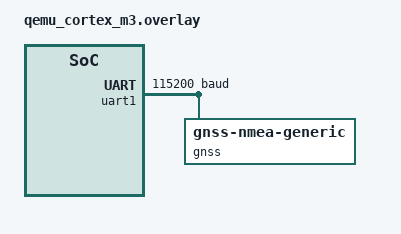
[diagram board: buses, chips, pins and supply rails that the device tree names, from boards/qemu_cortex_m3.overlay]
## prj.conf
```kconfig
# nothing here
CONFIG_UART_CONSOLE=y
CONFIG_RTT_CONSOLE=n
CONFIG_UART_CONSOLE=y
CONFIG_SERIAL=y

CONFIG_UART_INTERRUPT_DRIVEN=y
CONFIG_LOG=y
CONFIG_LOG_MODE_IMMEDIATE=y

CONFIG_GNSS=y
CONFIG_GNSS_SATELLITES=y
CONFIG_GNSS_DUMP_TO_LOG=y
CONFIG_GNSS_DUMP_TO_LOG_BUF_SIZE=1024
CONFIG_GNSS_LOG_LEVEL_DBG=y
CONFIG_PM_DEVICE=y
CONFIG_MODEM_MODULES_LOG_LEVEL_DBG=y
CONFIG_MODEM_LOG_LEVEL_DBG=y
CONFIG_MAIN_STACK_SIZE=10240
CONFIG_SYSTEM_WORKQUEUE_STACK_SIZE=4096

CONFIG_CBPRINTF_FP_SUPPORT=y
```

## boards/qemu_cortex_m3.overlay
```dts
/ {
    aliases {
        gnss = &gnss;
    };
};

&uart1 {
    status = "okay";
    current-speed = <115200>;

    gnss: gnss-nmea-generic {
        status = "okay";
        compatible = "gnss-nmea-generic";
        // uart-baudrate = <115200>;
        // zephyr,deferred-init;
    };
};
```

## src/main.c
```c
#include <zephyr/kernel.h>
#include <zephyr/drivers/uart.h>
#include <string.h>
#include <zephyr/drivers/gnss.h>
#include <zephyr/pm/device.h>
#include <string.h>
#include <inttypes.h>
#include <stdio.h>
#include <zephyr/kernel.h>
#include <zephyr/device.h>
#include <zephyr/logging/log.h>

LOG_MODULE_REGISTER(main);


#define UART_DEVICE_NODE DT_NODELABEL(uart2)
const struct device *uart1_dev = DEVICE_DT_GET(UART_DEVICE_NODE);

#define CMD_BUFFER_LEN 64

#define GNSS_MODEM DEVICE_DT_GET(DT_ALIAS(gnss))

unsigned long clockUnix = 0;
int gnss_dump_nav_data2(char *str, uint16_t strsize,
                        const struct navigation_data *nav_data, uint8_t no_sat,
                        uint32_t accuracy) {
  int ret;
  const char *fmt = "{\"T\":%d,\"lat\": %s%lli.%09lli, \"lng\": %s%lli.%09lli, "
                    "\"bearing\": %u.%03u, \"kmph\": %u.%03u, \"alt\": "
                    "%s%i.%03i, "
                    "\"no_sat\":%u, \"hdop\":%u.%03u}";
  char *lat_sign = nav_data->latitude < 0 ? "-" : "";
  char *lon_sign = nav_data->longitude < 0 ? "-" : "";
  char *alt_sign = nav_data->altitude < 0 ? "-" : "";

  LOG_INF("Speed in mms = %d\r\n", nav_data->speed);
  double speed_kmph = nav_data->speed * 0.0036;
  LOG_INF("Speed in kmph = %f\r\n", speed_kmph);

  // Separate integer and fractional parts
  uint32_t int_part = (uint32_t)speed_kmph;
  uint32_t frac_part = (uint32_t)((speed_kmph - int_part) * 100); //

  ret = snprintk(str, strsize, fmt, clockUnix, lat_sign,
                 llabs(nav_data->latitude) / 1000000000,
                 llabs(nav_data->latitude) % 1000000000, lon_sign,
                 llabs(nav_data->longitude) / 1000000000,
                 llabs(nav_data->longitude) % 1000000000,
                 nav_data->bearing / 1000, nav_data->bearing % 1000, int_part,
                 frac_part, alt_sign, abs(nav_data->altitude) / 1000,
                 abs(nav_data->altitude) % 1000, no_sat, accuracy / 1000,
                 accuracy % 1000);

  return (strsize < ret) ? -ENOMEM : 0;
}


static void gnss_data_cb(const struct device *dev,
                         const struct gnss_data *data) {
	static uint8_t fixCounter = 0; // Counter for the number of fixes

	uint8_t sat_cnt = data->info.satellites_cnt;
	uint32_t hdop_acc = data->info.hdop;
	printk(
		"\r\n ********************** Got a fix! %d ***********************\r\n",
		fixCounter);
	char buf[300];
	gnss_dump_nav_data2(buf, sizeof(buf), &data->nav_data, sat_cnt, hdop_acc);
		// const char *reply = "ERR\r\n";
		for (int i = 0; buf[i]; i++) {
			uart_poll_out(uart1_dev, buf[i]);
		}
	
}
GNSS_DATA_CALLBACK_DEFINE(GNSS_MODEM, gnss_data_cb);

void main(void)
{
    if (!device_is_ready(uart1_dev)) {
        printk("UART1 not ready\n");
        return;
    }

    pm_device_action_run(GNSS_MODEM, PM_DEVICE_ACTION_RESUME);
	device_init(GNSS_MODEM);

    printk("UART command handler started 2222222\n");

    uint8_t buf[CMD_BUFFER_LEN];
    size_t pos = 0;

    while (1) {
        // uint8_t c;

        // if (uart_poll_in(uart1_dev, &c) == 0) {
        //     // Echo the input char back
        //     // uart_poll_out(uart1_dev, c);

        //     if (pos < CMD_BUFFER_LEN - 1) {
        //         buf[pos++] = c;

        //         // Check for \r\n (end of command)
        //         if (pos >= 2 && buf[pos - 2] == '\r' && buf[pos - 1] == '\n') {
        //             buf[pos] = '\0';  // Null-terminate string

        //             if (strcmp((char *)buf, "echo test\r\n") == 0) {
		// 				printk("Received command: %s", buf);
        //                 const char *reply = "OK\r\n";
        //                 for (int i = 0; reply[i]; i++) {
        //                     uart_poll_out(uart1_dev, reply[i]);
        //                 }
        //             } else {
        //                 const char *reply = "ERR\r\n";
        //                 for (int i = 0; reply[i]; i++) {
        //                     uart_poll_out(uart1_dev, reply[i]);
        //                 }
        //             }

        //             // Reset buffer after command processed
        //             pos = 0;
        //         }
        //     } else {
        //         // Buffer overflow, reset
        //         pos = 0;
        //     }
        // }

        k_sleep(K_MSEC(10));
    }
}
```
